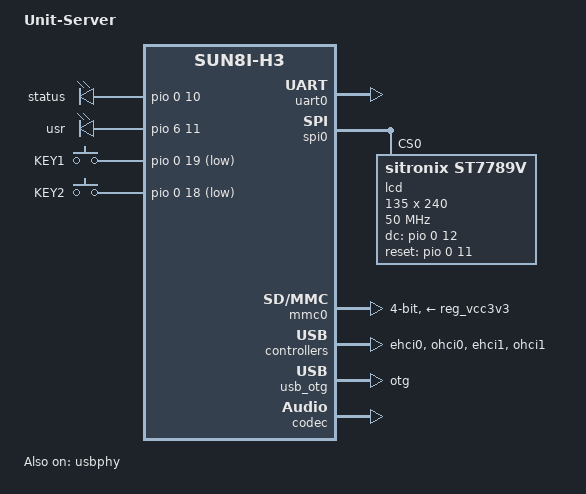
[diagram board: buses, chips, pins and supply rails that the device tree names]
/*
 * Device Tree for Unit-Server (Allwinner H3)
 *
 * 硬件配置:
 * - CPU: Allwinner H3 @ 1.2GHz
 * - RAM: 512MB DDR3
 * - LCD: ST7789VW 240x135 SPI (SPI0)
 * - WiFi/BT: RTL8723BU (USB)
 * - Storage: TF Card (MMC0)
 * - UART: UART0 -> CP2102 (调试串口)
 * - Audio: H3 内置 Codec (MIC)
 * - GPIO: KEY1(PA19), KEY2(PA18), STATUS_LED(PA10), USR_LED(PG11)
 */

/dts-v1/;
#include "sun8i-h3.dtsi"
#include "sunxi-common-regulators.dtsi"
#include <dt-bindings/gpio/gpio.h>
#include <dt-bindings/input/input.h>

/ {
	model = "Unit-Server";
	compatible = "unit,unit-server", "allwinner,sun8i-h3";

	aliases {
		serial0 = &uart0;
		spi0 = &spi0;
		mmc0 = &mmc0;
	};

	chosen {
		stdout-path = "serial0:115200n8";
	};

	/* LED 配置 */
	leds {
		compatible = "gpio-leds";

		status_led {
			label = "status";
			gpios = <&pio 0 10 GPIO_ACTIVE_HIGH>; /* PA10 */
			linux,default-trigger = "heartbeat";
		};

		usr_led {
			label = "usr";
			gpios = <&pio 6 11 GPIO_ACTIVE_HIGH>; /* PG11 */
			default-state = "off";
		};
	};

	/* 按键配置 */
	gpio-keys {
		compatible = "gpio-keys";

		key1 {
			label = "KEY1";
			linux,code = <KEY_PROG1>;
			gpios = <&pio 0 19 GPIO_ACTIVE_LOW>; /* PA19 */
		};

		key2 {
			label = "KEY2";
			linux,code = <KEY_PROG2>;
			gpios = <&pio 0 18 GPIO_ACTIVE_LOW>; /* PA18 */
		};
	};
};

/* UART0 - CP2102 调试串口 */
&uart0 {
	pinctrl-names = "default";
	pinctrl-0 = <&uart0_pins_a>;
	status = "okay";
};

/* SPI0 - LCD ST7789VW */
&spi0 {
	#address-cells = <1>;
	#size-cells = <0>;
	status = "okay";
	pinctrl-names = "default";
	pinctrl-0 = <&spi0_pins>;

	/* ST7789VW 240x135 LCD */
	lcd@0 {
		compatible = "sitronix,st7789v";
		reg = <0>;
		status = "okay";

		spi-max-frequency = <50000000>; /* 50MHz */
		rotate = <270>;
		width = <135>;
		height = <240>;
		fps = <30>;
		buswidth = <8>;
		dc-gpios = <&pio 0 12 GPIO_ACTIVE_HIGH>;    /* PA12 - DC */
		reset-gpios = <&pio 0 11 GPIO_ACTIVE_HIGH>; /* PA11 - Reset */
		debug = <0>;
	};
};

/* MMC0 - TF Card (SD Card) */
&mmc0 {
	vmmc-supply = <&reg_vcc3v3>;
	bus-width = <4>;
	pinctrl-names = "default";
	pinctrl-0 = <&mmc0_pins_a>;
	status = "okay";
};

/* USB - WiFi RTL8723BU */
&ehci0 {
	status = "okay";
};

&ohci0 {
	status = "okay";
};

&ehci1 {
	status = "okay";
};

&ohci1 {
	status = "okay";
};

/* USB OTG - Type-C */
&usb_otg {
	dr_mode = "otg";
	status = "okay";
};

&usbphy {
	status = "okay";
};

/* Audio Codec - MIC */
&codec {
	allwinner,audio-routing =
		"Line Out", "LINEOUT",
		"MIC1", "Mic",
		"Mic", "MBIAS";
	status = "okay";
};

/* 禁用不使用的 I2C 和 UART */
&i2c0 {
	status = "disabled";
};

&i2c1 {
	status = "disabled";
};

&i2c2 {
	status = "disabled";
};

&uart1 {
	status = "disabled";
};

&uart2 {
	status = "disabled";
};

&uart3 {
	status = "disabled";
};

&ir {
	status = "disabled";
};
